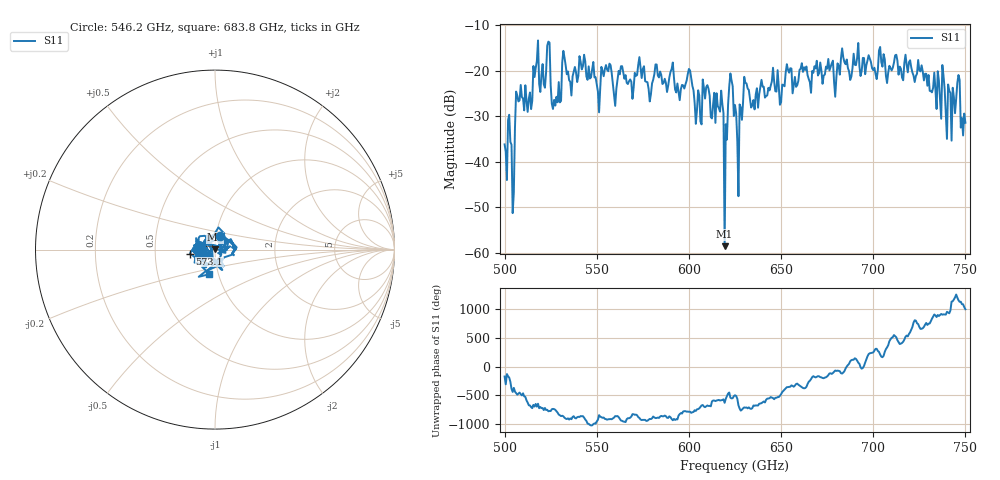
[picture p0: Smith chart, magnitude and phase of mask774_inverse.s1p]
!Created with skrf (http://scikit-rf.org).
# GHz S MA R 50.0
!freq magS11 angS11
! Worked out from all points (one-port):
!   401 points, 500 GHz to 750 GHz, reference 50 ohm
!   lowest |S11| = -58.6 dB at 619.4 GHz (marker M1), VSWR 1.00, Z = 50 + j0.117 ohm
!   |S11| at or under -10 dB: start of sweep to end of sweep
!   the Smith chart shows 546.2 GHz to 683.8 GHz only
!   S11 on the Smith chart (normalised r, x): 546.2 GHz: 1.05, +0.16; 573.1 GHz: 0.75, -0.03; 683.8 GHz: 0.91, -0.25
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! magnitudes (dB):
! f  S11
! 500 GHz  -36.2
! 504.4 GHz  -51.3
! 507.5 GHz  -26.7
! 513.8 GHz  -24.8
! 516.9 GHz  -19.4
! 520.6 GHz  -18.5
! 523.8 GHz  -13.6
! 526.9 GHz  -26.4
! 531.2 GHz  -18.2
! 546.2 GHz  -21.7
! 562.5 GHz  -20.8
! 573.1 GHz  -17.0
! 593.8 GHz  -22.8
! 600 GHz  -19.6
! 616.2 GHz  -28.2
! 619.4 GHz  -58.6
! 622.5 GHz  -20.6
! 625 GHz  -27.5
! 627.5 GHz  -27.4
! 631.2 GHz  -22.8
! 634.4 GHz  -27.6
! 656.2 GHz  -25.0
! 683.8 GHz  -17.0
! 687.5 GHz  -22.0
! 718.8 GHz  -20.3
! 741.2 GHz  -24.4
! 745.6 GHz  -22.7
! 750 GHz  -31.4
